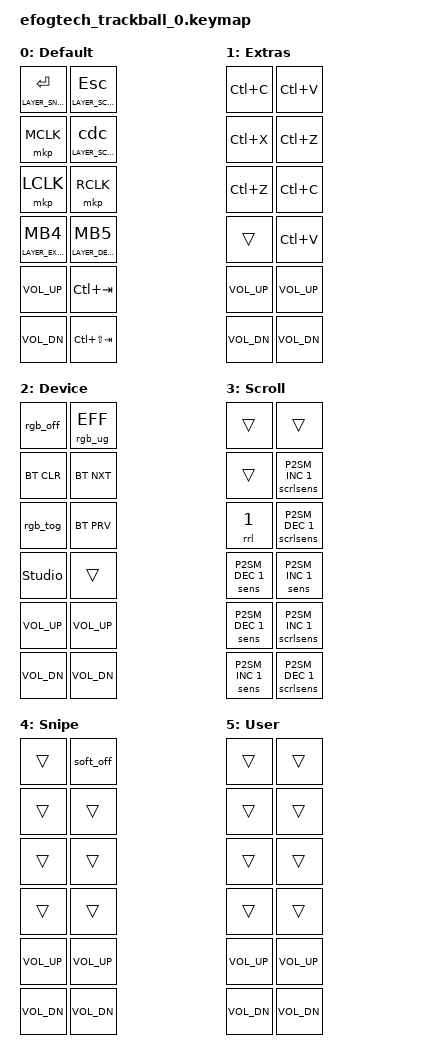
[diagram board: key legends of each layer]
#include <behaviors.dtsi>
#include <dt-bindings/zmk/bt.h>
#include <dt-bindings/zmk/keys.h>
#include <dt-bindings/zmk/pointing.h>
#include <dt-bindings/zmk/outputs.h>
#include <dt-bindings/zmk/p2sm.h>
#include <dt-bindings/zmk/rgb.h>
#include <dt-bindings/zmk/ext_power.h>

#define LAYER_DEFAULT      0
#define LAYER_EXTRAS       1
#define LAYER_DEVICE       2
#define LAYER_SCROLL       3
#define LAYER_SNIPE        4
#define LAYER_USER         5

#define TWIST_MULTIPLIER   1
#define TWIST_DIVISOR      15

#define POINTER_MULTIPLIER 4
#define POINTER_DIVISOR    5

#define SCROLL_MULTIPLIER  1
#define SCROLL_DIVISOR     35

#define SNIPE_MULTIPLIER   1
#define SNIPE_DIVISOR      6

/ {
    keymap {
        compatible = "zmk,keymap";

        default_layer {
            display-name = "Default";
            DECLARE_ENCODERS;
            bindings = <
                // buttons
                &ltmkp LAYER_SNIPE ENTER  &ltmkp LAYER_SCROLL ESC
                &mkp MCLK                 &cdch LAYER_SCROLL 0
                &mkp LCLK                 &mkp RCLK
                &ltm LAYER_EXTRAS MB4     &ltm LAYER_DEVICE MB5

                // rotary encoders
                &kp C_VOL_UP              &kp LC(TAB)
                &kp C_VOL_DN              &kp LC(LS(TAB))
            >;
        };

        layer2 {
            display-name = "Extras";
            DECLARE_ENCODERS;
            bindings = <
                &kp LC(C)      &kp LC(V)
                &kp LC(X)      &kp LC(Z)
                &kp LC(Z)      &kp LC(C)
                &trans         &kp LC(V)

                &kp C_VOL_UP   &kp C_VOL_UP
                &kp C_VOL_DN &kp C_VOL_DN
            >;
        };

        layer3 {
            display-name = "Device";
            DECLARE_ENCODERS;
            bindings = <
                &rgb_off           &rgb_ug RGB_EFF
                &bt BT_CLR         &bt BT_NXT
                &rgb_tog           &bt BT_PRV
                &studio_unlock     &trans

                &kp C_VOL_UP       &kp C_VOL_UP
                &kp C_VOL_DN     &kp C_VOL_DN
            >;
        };

        layer4 {
            display-name = "Scroll";
            DECLARE_ENCODERS;
            bindings = <
                &trans              &trans
                &trans              &scrlsens P2SM_INC 1
                &rrl 1              &scrlsens P2SM_DEC 1
                &sens P2SM_DEC 1    &sens P2SM_INC 1

                &sens P2SM_DEC 1    &scrlsens P2SM_INC 1
                &sens P2SM_INC 1    &scrlsens P2SM_DEC 1
            >;
        };

        layer5 {
            display-name = "Snipe";
            DECLARE_ENCODERS;
            bindings = <
                &trans           &soft_off
                &trans           &trans
                &trans           &trans
                &trans           &trans

                &kp C_VOL_UP     &kp C_VOL_UP
                &kp C_VOL_DN   &kp C_VOL_DN
            >;
        };

        layer6 {
            display-name = "User";
            DECLARE_ENCODERS;
            bindings = <
                &trans        &trans
                &trans        &trans
                &trans        &trans
                &trans        &trans

                &kp C_VOL_UP   &kp C_VOL_UP
                &kp C_VOL_DN &kp C_VOL_DN
            >;
        };
    };

    behaviors {
        cdch: click-double-click-hold {
            compatible = "zmk,behavior-hold-tap";
            display-name = "Copy/paste/layer (click/double-click/hold)";
            #binding-cells = <2>;
            flavor = "tap-preferred";
            tapping-term-ms = <325>;
            bindings = <&mo>, <&cdc>;
        };

        cdc: click-double-click {
            compatible = "zmk,behavior-tap-dance";
            display-name = "Copy/paste (click/double-click)";
            #binding-cells = <0>;
            tapping-term-ms = <300>;
            bindings = <&kp K_COPY>, <&kp K_PASTE>;
        };
    };

    trackball {
        input-processors = <&zip_scroll_scaler TWIST_MULTIPLIER TWIST_DIVISOR>,
                           <&zip_xy_scaler POINTER_MULTIPLIER POINTER_DIVISOR>,
                           <&zip_rotate_pointer>, <&zip_rotate_scroll>,
                           <&zip_ble_report_rate_limit>;

        scroll {
            layers = <LAYER_SCROLL>;
            input-processors = <&zip_xy_scaler SCROLL_MULTIPLIER SCROLL_DIVISOR>,
                               <&zip_axis_clamper>,
                               <&zip_xy_to_scroll_mapper>, <&zip_scroll_transform INPUT_TRANSFORM_Y_INVERT>,
                               <&zip_dragscroll_accel>, <&zip_rotate_scroll>, <&zip_ble_report_rate_limit>;
        };

        snipe {
            layers = <LAYER_SNIPE>;
            input-processors = <&zip_xy_scaler SNIPE_MULTIPLIER SNIPE_DIVISOR>,
                               <&zip_rotate_pointer>, <&zip_rotate_scroll>, <&zip_ble_report_rate_limit>;
        };
    };

    behaviors {
        rrl {
            values-ms = <5 8 12 16 20 24>;
        };
    };

    macros {
        rgb_tog: rgb_tog {
            compatible = "zmk,behavior-macro";
            display-name = "Toggle RGB";
            #binding-cells = <0>;
            wait-ms = <20>;
            bindings
            = <&rgb_ug RGB_TOG>
            , <&ext_power EP_TOG>
            ;
        };

        rgb_off: rgb_off {
            compatible = "zmk,behavior-macro";
            display-name = "RGB off";
            #binding-cells = <0>;
            wait-ms = <20>;
            bindings
            = <&ext_power EP_OFF>
            , <&rgb_ug RGB_OFF>
            ;
        };
    };
};
